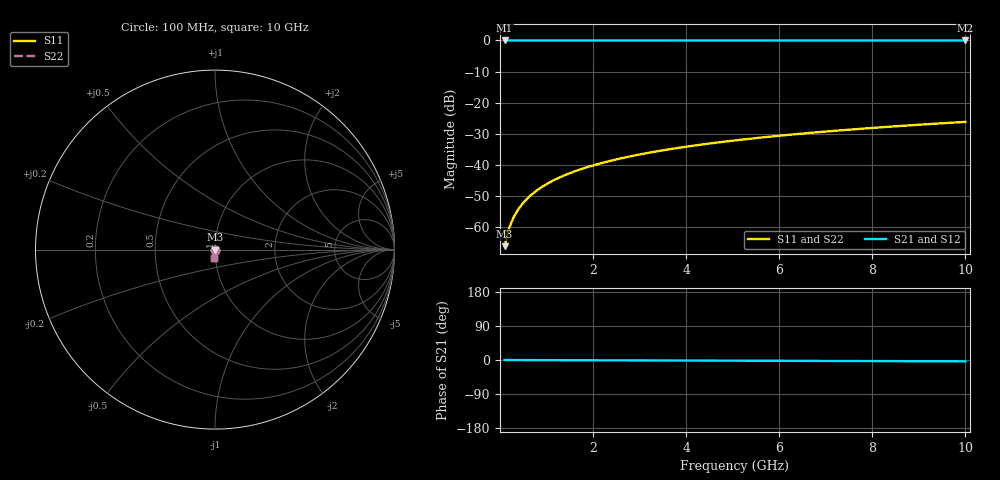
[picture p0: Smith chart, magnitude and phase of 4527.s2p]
# Hz S RI R 50.00
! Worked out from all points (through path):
!   100 points, 100 MHz to 10 GHz, reference 50 ohm
!   highest |S21| = 0.00 dB at 100 MHz (marker M1); lowest = 0.0 dB at 10 GHz (marker M2)
!   lowest |S11| = -66.3 dB at 100 MHz (marker M3), VSWR 1.00, Z = 50 - j0.0485 ohm
!   |S11| at or under -10 dB: start of sweep to end of sweep
!   |S22| runs from -66.3 to -26.2 dB; largest |S21 - S12| = 0
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1e8  3.78e-05 -0.000485  1 -0.000623  1 -0.000623  3.78e-05 -0.000485
2e8  3.66e-05 -0.00097  1 -0.00125  1 -0.00125  3.66e-05 -0.00097
3e8  3.48e-05 -0.00145  1 -0.00187  1 -0.00187  3.48e-05 -0.00145
4e8  3.23e-05 -0.00194  1 -0.00249  1 -0.00249  3.23e-05 -0.00194
5e8  2.92e-05 -0.00242  0.9999 -0.00311  0.9999 -0.00311  2.92e-05 -0.00242
6e8  2.54e-05 -0.00291  0.9999 -0.00374  0.9999 -0.00374  2.54e-05 -0.00291
7e8  2.11e-05 -0.00339  0.9999 -0.00436  0.9999 -0.00436  2.11e-05 -0.00339
8e8  1.61e-05 -0.00388  0.9999 -0.00498  0.9999 -0.00498  1.61e-05 -0.00388
9e8  1.05e-05 -0.00436  0.9999 -0.00561  0.9999 -0.00561  1.05e-05 -0.00436
1.1e9  -2.47e-06 -0.00534  0.9999 -0.00685  0.9999 -0.00685  -2.47e-06 -0.00534
1.4e9  -2.65e-05 -0.00679  0.9999 -0.00872  0.9999 -0.00872  -2.65e-05 -0.00679
1.8e9  -6.71e-05 -0.00873  0.9998 -0.0112  0.9998 -0.0112  -6.71e-05 -0.00873
2.1e9  -0.000104 -0.0102  0.9998 -0.0131  0.9998 -0.0131  -0.000104 -0.0102
2.5e9  -0.000162 -0.0121  0.9997 -0.0156  0.9997 -0.0156  -0.000162 -0.0121
2.9e9  -0.000229 -0.0141  0.9997 -0.0181  0.9997 -0.0181  -0.000229 -0.0141
3.4e9  -0.000327 -0.0165  0.9996 -0.0212  0.9996 -0.0212  -0.000327 -0.0165
4.2e9  -0.000516 -0.0204  0.9994 -0.0262  0.9994 -0.0262  -0.000516 -0.0204
5.1e9  -0.000775 -0.0248  0.9991 -0.0318  0.9991 -0.0318  -0.000775 -0.0248
5.9e9  -0.00105 -0.0287  0.9988 -0.0369  0.9988 -0.0369  -0.00105 -0.0287
6.7e9  -0.00136 -0.0326  0.9985 -0.0419  0.9985 -0.0419  -0.00136 -0.0326
8.4e9  -0.00216 -0.0409  0.9977 -0.0526  0.9977 -0.0526  -0.00216 -0.0409
1e10  -0.00307 -0.0487  0.9967 -0.0626  0.9967 -0.0626  -0.00307 -0.0487
